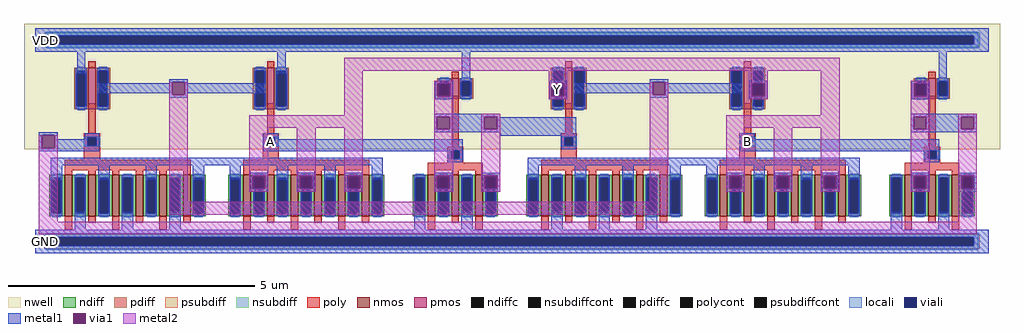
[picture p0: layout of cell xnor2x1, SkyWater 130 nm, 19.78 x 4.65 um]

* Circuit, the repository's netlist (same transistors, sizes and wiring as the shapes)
** sch_path: /foss/designs/xnor2x1.sch
.subckt xnor2x1 A B Y VDD GND
*.PININFO A:I B:I Y:O VDD:B GND:B
XM9 Abar A GND GND sky130_fd_pr__nfet_01v8 L=0.15 W=2.52 nf=3
XM10 Abar A VDD VDD sky130_fd_pr__pfet_01v8 L=0.15 W=0.42 nf=1
XM2 Y A net1 GND sky130_fd_pr__nfet_01v8 L=0.15 W=5.04 nf=6
XM5 net3 A VDD VDD sky130_fd_pr__pfet_01v8 L=0.15 W=0.84 nf=1
XM12 Bbar B VDD VDD sky130_fd_pr__pfet_01v8 L=0.15 W=0.42 nf=1
XM11 Bbar B GND GND sky130_fd_pr__nfet_01v8 L=0.15 W=2.52 nf=3
XM1 net1 Bbar GND GND sky130_fd_pr__nfet_01v8 L=0.15 W=5.04 nf=6
XM3 net2 Abar GND GND sky130_fd_pr__nfet_01v8 L=0.15 W=5.04 nf=6
XM4 Y B net2 GND sky130_fd_pr__nfet_01v8 L=0.15 W=5.04 nf=6
XM6 Y B net3 VDD sky130_fd_pr__pfet_01v8 L=0.15 W=0.84 nf=1
XM8 Y Abar net3 VDD sky130_fd_pr__pfet_01v8 L=0.15 W=0.84 nf=1
XM7 net3 Bbar VDD VDD sky130_fd_pr__pfet_01v8 L=0.15 W=0.84 nf=1
.ends

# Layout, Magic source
magic
tech sky130A
magscale 1 2
<< nwell >>
rect -46 374 3910 882
<< psubdiff >>
rect 36 17 3828 29
rect 36 -17 60 17
rect 3804 -17 3828 17
rect 36 -29 3828 -17
<< nsubdiff >>
rect 36 833 3828 845
rect 36 799 60 833
rect 3804 799 3828 833
rect 36 787 3828 799
<< psubdiffcont >>
rect 60 -17 3804 17
<< nsubdiffcont >>
rect 60 799 3804 833
<< poly >>
rect 215 438 245 560
rect 939 438 969 560
rect 197 422 263 438
rect 197 388 213 422
rect 247 388 263 422
rect 197 330 263 388
rect 921 422 987 438
rect 921 388 937 422
rect 971 388 987 422
rect 921 330 987 388
rect 1687 384 1717 590
rect 2147 438 2177 560
rect 2871 438 2901 560
rect 2129 422 2195 438
rect 2129 388 2145 422
rect 2179 388 2195 422
rect 1669 368 1735 384
rect 1669 334 1685 368
rect 1719 334 1735 368
rect 119 288 629 330
rect 843 288 1353 330
rect 1669 318 1735 334
rect 2129 330 2195 388
rect 2853 422 2919 438
rect 2853 388 2869 422
rect 2903 388 2919 422
rect 2853 330 2919 388
rect 3619 384 3649 590
rect 3601 368 3667 384
rect 3601 334 3617 368
rect 3651 334 3667 368
rect 1591 288 1813 318
rect 2051 288 2561 330
rect 2775 288 3285 330
rect 3601 318 3667 334
rect 3523 288 3745 318
<< polycont >>
rect 213 388 247 422
rect 937 388 971 422
rect 2145 388 2179 422
rect 1685 334 1719 368
rect 2869 388 2903 422
rect 3617 334 3651 368
<< locali >>
rect 42 833 3822 849
rect 42 799 60 833
rect 3804 799 3822 833
rect 42 783 3822 799
rect 197 422 263 424
rect 197 388 213 422
rect 247 388 263 422
rect 197 386 263 388
rect 921 422 987 424
rect 921 388 937 422
rect 971 388 987 422
rect 921 386 987 388
rect 2129 422 2195 424
rect 2129 388 2145 422
rect 2179 388 2195 422
rect 2129 386 2195 388
rect 2853 422 2919 424
rect 2853 388 2869 422
rect 2903 388 2919 422
rect 2853 386 2919 388
rect 1669 368 1735 370
rect 1669 334 1685 368
rect 1719 334 1735 368
rect 1669 332 1735 334
rect 3601 368 3667 370
rect 3601 334 3617 368
rect 3651 334 3667 368
rect 3601 332 3667 334
rect 42 17 3822 33
rect 42 -17 60 17
rect 3804 -17 3822 17
rect 42 -33 3822 -17
<< viali >>
rect 60 799 3804 833
rect 213 388 247 422
rect 937 388 971 422
rect 2145 388 2179 422
rect 2869 388 2903 422
rect 1685 334 1719 368
rect 3617 334 3651 368
rect 60 -17 3804 17
<< metal1 >>
rect 0 833 3864 864
rect 0 799 60 833
rect 3804 799 3864 833
rect 0 768 3864 799
rect 169 680 203 768
rect 981 680 1015 768
rect 542 646 618 658
rect 542 640 554 646
rect 251 600 554 640
rect 542 594 554 600
rect 606 640 618 646
rect 1620 640 1692 652
rect 1729 650 1763 768
rect 606 600 933 640
rect 606 594 618 600
rect 542 582 618 594
rect 1620 588 1630 640
rect 1682 588 1692 640
rect 1620 576 1692 588
rect 2082 640 2154 652
rect 2490 646 2566 658
rect 2490 640 2502 646
rect 2082 588 2092 640
rect 2144 588 2154 640
rect 2183 600 2502 640
rect 2082 576 2154 588
rect 2490 594 2502 600
rect 2554 640 2566 646
rect 2894 640 2966 652
rect 2554 600 2865 640
rect 2554 594 2566 600
rect 2490 582 2566 594
rect 2894 588 2904 640
rect 2956 588 2966 640
rect 2894 576 2966 588
rect 3552 640 3624 652
rect 3661 650 3695 768
rect 3552 588 3562 640
rect 3614 588 3624 640
rect 3552 576 3624 588
rect 1616 506 1884 518
rect 1616 454 1628 506
rect 1680 454 1820 506
rect 1872 504 1884 506
rect 3548 506 3816 518
rect 1872 454 2192 504
rect 1616 442 2192 454
rect 3548 454 3560 506
rect 3612 454 3752 506
rect 3804 454 3816 506
rect 3548 442 3816 454
rect 14 430 90 442
rect 14 378 26 430
rect 78 414 90 430
rect 200 422 260 438
rect 200 414 213 422
rect 78 388 213 414
rect 247 388 260 422
rect 78 378 260 388
rect 14 366 260 378
rect 924 422 984 438
rect 1884 428 2192 442
rect 924 388 937 422
rect 971 414 984 422
rect 2132 422 2192 428
rect 971 388 1732 414
rect 924 368 1732 388
rect 2132 388 2145 422
rect 2179 388 2192 422
rect 2132 374 2192 388
rect 2856 422 2916 438
rect 2856 388 2869 422
rect 2903 414 2916 422
rect 2903 388 3664 414
rect 924 366 1685 368
rect 63 308 1409 338
rect 1672 334 1685 366
rect 1719 334 1732 368
rect 2856 368 3664 388
rect 2856 366 3617 368
rect 1672 320 1732 334
rect 63 250 109 308
rect 255 250 301 308
rect 447 250 493 308
rect 639 250 685 308
rect 787 250 833 308
rect 868 266 944 278
rect 868 214 880 266
rect 932 214 944 266
rect 979 250 1025 308
rect 1060 266 1136 278
rect 868 202 944 214
rect 1060 214 1072 266
rect 1124 214 1136 266
rect 1171 250 1217 308
rect 1252 266 1328 278
rect 1060 202 1136 214
rect 1252 214 1264 266
rect 1316 214 1328 266
rect 1363 250 1409 308
rect 1995 308 3341 338
rect 3604 334 3617 366
rect 3651 334 3664 368
rect 3604 320 3664 334
rect 1616 266 1692 278
rect 1252 202 1328 214
rect 1616 214 1628 266
rect 1680 214 1692 266
rect 1616 202 1692 214
rect 1808 266 1884 278
rect 1808 214 1820 266
rect 1872 214 1884 266
rect 1995 250 2041 308
rect 2187 250 2233 308
rect 2379 250 2425 308
rect 2571 250 2617 308
rect 2719 250 2765 308
rect 2800 266 2876 278
rect 1808 202 1884 214
rect 2800 214 2812 266
rect 2864 214 2876 266
rect 2911 250 2957 308
rect 2992 266 3068 278
rect 2800 202 2876 214
rect 2992 214 3004 266
rect 3056 214 3068 266
rect 3103 250 3149 308
rect 3184 266 3260 278
rect 2992 202 3068 214
rect 3184 214 3196 266
rect 3248 214 3260 266
rect 3295 250 3341 308
rect 3548 266 3624 278
rect 3184 202 3260 214
rect 3548 214 3560 266
rect 3612 214 3624 266
rect 3548 202 3624 214
rect 3740 266 3816 278
rect 3740 214 3752 266
rect 3804 214 3816 266
rect 3740 202 3816 214
rect 159 48 205 120
rect 351 48 397 120
rect 543 48 589 120
rect 1535 48 1581 120
rect 1727 48 1773 120
rect 2091 48 2137 120
rect 2283 48 2329 120
rect 2475 48 2521 120
rect 3467 48 3513 120
rect 3659 48 3705 120
rect 0 17 3864 48
rect 0 -17 60 17
rect 3804 -17 3864 17
rect 0 -48 3864 -17
<< via1 >>
rect 554 594 606 646
rect 1630 588 1682 640
rect 2092 588 2144 640
rect 2502 594 2554 646
rect 2904 588 2956 640
rect 3562 588 3614 640
rect 1628 454 1680 506
rect 1820 454 1872 506
rect 3560 454 3612 506
rect 3752 454 3804 506
rect 26 378 78 430
rect 880 214 932 266
rect 1072 214 1124 266
rect 1264 214 1316 266
rect 1628 214 1680 266
rect 1820 214 1872 266
rect 2812 214 2864 266
rect 3004 214 3056 266
rect 3196 214 3248 266
rect 3560 214 3612 266
rect 3752 214 3804 266
<< metal2 >>
rect 1252 692 3260 744
rect 542 594 554 646
rect 606 594 618 646
rect 14 378 26 430
rect 78 378 90 430
rect 14 80 90 378
rect 542 160 618 594
rect 1252 512 1328 692
rect 868 460 1328 512
rect 868 266 944 460
rect 868 214 880 266
rect 932 214 944 266
rect 868 202 944 214
rect 1060 266 1136 460
rect 1060 214 1072 266
rect 1124 214 1136 266
rect 1060 202 1136 214
rect 1252 266 1328 460
rect 1252 214 1264 266
rect 1316 214 1328 266
rect 1252 202 1328 214
rect 1616 640 1694 652
rect 1616 588 1630 640
rect 1682 588 1694 640
rect 1616 506 1694 588
rect 2080 640 2156 692
rect 2080 588 2092 640
rect 2144 588 2156 640
rect 2080 576 2156 588
rect 2490 594 2502 646
rect 2554 594 2566 646
rect 1616 454 1628 506
rect 1680 454 1694 506
rect 1616 266 1694 454
rect 1616 214 1628 266
rect 1680 214 1694 266
rect 1616 202 1694 214
rect 1808 506 1884 518
rect 1808 454 1820 506
rect 1872 454 1884 506
rect 1808 266 1884 454
rect 1808 214 1820 266
rect 1872 214 1884 266
rect 1808 202 1884 214
rect 2490 160 2566 594
rect 2892 640 2968 692
rect 2892 588 2904 640
rect 2956 588 2968 640
rect 2892 576 2968 588
rect 3184 512 3260 692
rect 2800 460 3260 512
rect 2800 266 2876 460
rect 2800 214 2812 266
rect 2864 214 2876 266
rect 2800 202 2876 214
rect 2992 266 3068 460
rect 2992 214 3004 266
rect 3056 214 3068 266
rect 2992 202 3068 214
rect 3184 266 3260 460
rect 3184 214 3196 266
rect 3248 214 3260 266
rect 3184 202 3260 214
rect 3548 640 3626 652
rect 3548 588 3562 640
rect 3614 588 3626 640
rect 3548 506 3626 588
rect 3548 454 3560 506
rect 3612 454 3626 506
rect 3548 266 3626 454
rect 3548 214 3560 266
rect 3612 214 3626 266
rect 3548 202 3626 214
rect 3740 506 3816 518
rect 3740 454 3752 506
rect 3804 454 3816 506
rect 3740 266 3816 454
rect 3740 214 3752 266
rect 3804 214 3816 266
rect 542 108 2566 160
rect 3740 80 3816 214
rect 14 28 3816 80
use sky130_fd_pr__nfet_01v8_6WXBLA  xn1
transform 1 0 374 0 1 186
box -317 -139 317 139
use sky130_fd_pr__nfet_01v8_6WXBLA  xn2
transform 1 0 1098 0 1 186
box -317 -139 317 139
use sky130_fd_pr__nfet_01v8_6WXBLA  xn3
transform 1 0 2306 0 1 186
box -317 -139 317 139
use sky130_fd_pr__nfet_01v8_6WXBLA  xn4
transform 1 0 3030 0 1 186
box -317 -139 317 139
use sky130_fd_pr__nfet_01v8_RPKUUV  xnia
transform 1 0 1702 0 1 186
box -173 -139 173 139
use sky130_fd_pr__nfet_01v8_RPKUUV  xnib
transform 1 0 3634 0 1 186
box -173 -139 173 139
use sky130_fd_pr__pfet_01v8_W5J8BK  xp5
transform 1 0 954 0 1 620
box -109 -146 109 146
use sky130_fd_pr__pfet_01v8_W5J8BK  xp6
transform 1 0 2886 0 1 620
box -109 -146 109 146
use sky130_fd_pr__pfet_01v8_W5J8BK  xp7
transform 1 0 230 0 1 620
box -109 -146 109 146
use sky130_fd_pr__pfet_01v8_W5J8BK  xp8
transform 1 0 2162 0 1 620
box -109 -146 109 146
use sky130_fd_pr__pfet_01v8_YNU6YZ  xpia
transform 1 0 1702 0 1 620
box -109 -104 109 104
use sky130_fd_pr__pfet_01v8_YNU6YZ  xpib
transform 1 0 3634 0 1 620
box -109 -104 109 104
<< labels >>
rlabel metal1 924 374 984 438 0 A
port 1 nsew
rlabel metal1 2856 374 2916 438 0 B
port 2 nsew
rlabel metal1 2082 576 2154 652 0 Y
port 3 nsew
rlabel metal1 10 780 70 852 0 VDD
port 4 nsew
rlabel metal1 10 -36 70 36 0 GND
port 5 nsew
<< properties >>
string FIXED_BBOX 0 0 3864 816
<< end >>

# cell sky130_fd_pr__nfet_01v8_6WXBLA: kit device sky130_fd_pr__nfet_01v8, w 0.84 l 0.15 m 1 nf 6 diffcov 100 polycov 100 guard 0 glc 1 grc 1 gtc 1 gbc 1 tbcov 100 rlcov 100 topc 0 botc 0 poverlap 0 doverlap 1 lmin 0.15 wmin 0.42 class mosfet compatible {sky130_fd_pr__nfet_01v8 sky130_fd_pr__nfet_01v8_lvt sky130_fd_bs_flash__special_sonosfet_star sky130_fd_pr__nfet_g5v0d10v5 sky130_fd_pr__nfet_05v0_nvt sky130_fd_pr__nfet_03v3_nvt} full_metal 1 conn_gates 0 viasrc 100 viadrn 100 viagate 100 viagb 0 viagr 0 viagl 0 viagt 0 doports 1

# cell sky130_fd_pr__nfet_01v8_RPKUUV: kit device sky130_fd_pr__nfet_01v8, w 0.84 l 0.15 m 1 nf 3 diffcov 100 polycov 100 guard 0 glc 1 grc 1 gtc 1 gbc 1 tbcov 100 rlcov 100 topc 0 botc 0 poverlap 0 doverlap 1 lmin 0.15 wmin 0.42 class mosfet compatible {sky130_fd_pr__nfet_01v8 sky130_fd_pr__nfet_01v8_lvt sky130_fd_bs_flash__special_sonosfet_star sky130_fd_pr__nfet_g5v0d10v5 sky130_fd_pr__nfet_05v0_nvt sky130_fd_pr__nfet_03v3_nvt} full_metal 1 conn_gates 0 viasrc 100 viadrn 100 viagate 100 viagb 0 viagr 0 viagl 0 viagt 0 doports 1

# cell sky130_fd_pr__pfet_01v8_W5J8BK: kit device sky130_fd_pr__pfet_01v8, w 0.84 l 0.15 m 1 nf 1 diffcov 100 polycov 100 guard 0 glc 1 grc 1 gtc 1 gbc 1 tbcov 100 rlcov 100 topc 0 botc 0 poverlap 0 doverlap 1 lmin 0.15 wmin 0.42 class mosfet compatible {sky130_fd_pr__pfet_01v8 sky130_fd_pr__pfet_01v8_lvt sky130_fd_pr__pfet_01v8_hvt sky130_fd_pr__pfet_g5v0d10v5} full_metal 1 conn_gates 0 viasrc 100 viadrn 100 viagate 100 viagb 0 viagr 0 viagl 0 viagt 0 doports 1

# cell sky130_fd_pr__pfet_01v8_YNU6YZ: kit device sky130_fd_pr__pfet_01v8, w 0.42 l 0.15 m 1 nf 1 diffcov 100 polycov 100 guard 0 glc 1 grc 1 gtc 1 gbc 1 tbcov 100 rlcov 100 topc 0 botc 0 poverlap 0 doverlap 1 lmin 0.15 wmin 0.42 class mosfet compatible {sky130_fd_pr__pfet_01v8 sky130_fd_pr__pfet_01v8_lvt sky130_fd_pr__pfet_01v8_hvt sky130_fd_pr__pfet_g5v0d10v5} full_metal 1 conn_gates 0 viasrc 100 viadrn 100 viagate 100 viagb 0 viagr 0 viagl 0 viagt 0 doports 1
